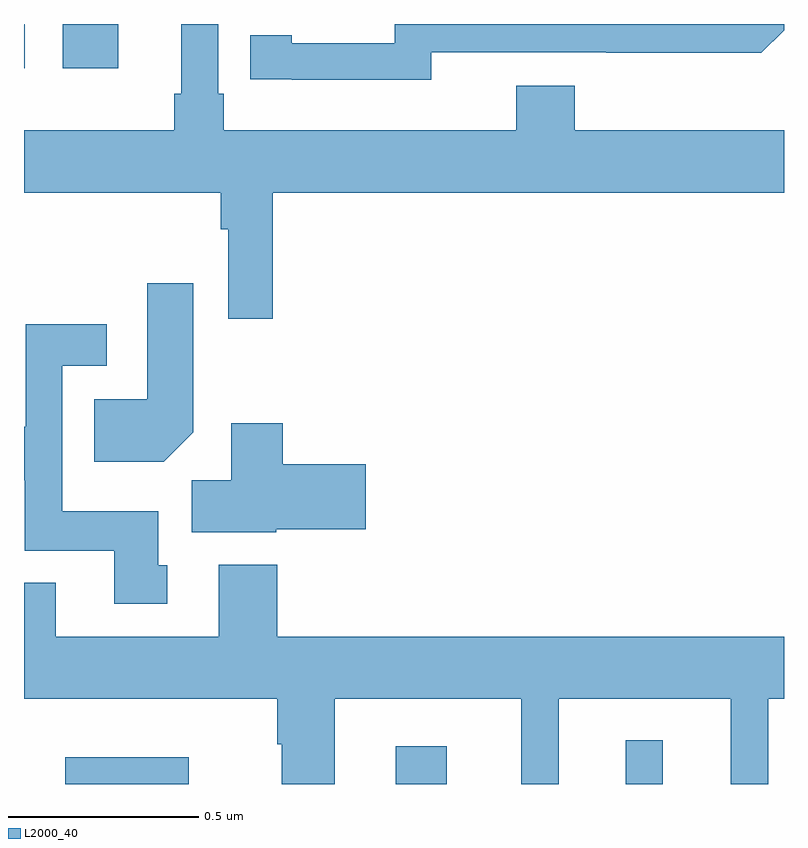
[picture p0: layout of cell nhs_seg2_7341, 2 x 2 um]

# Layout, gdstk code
import gdstk
lib = gdstk.Library(unit=1e-6, precision=1e-09)
def R(c, l, rs):  # rectangles x0, y0, x1, y1
    for r in rs: c.add(gdstk.rectangle(r[:2], r[2:], *l))
def P(c, l, *ps):  # polygons
    for p in ps: c.add(gdstk.Polygon(p, *l))
L2000_40 = (2000, 40)

nhs_seg2_7341 = lib.new_cell('nhs_seg2_7341')
R(nhs_seg2_7341, L2000_40, [(203.109,592.8,203.433,592.87), (203.978,592.8,204.112,592.9), (204.584,592.8,204.681,592.915), (203,594.684,203.002,594.8), (203.102,594.684,203.248,594.8)])
P(nhs_seg2_7341, L2000_40, [(203.654,594.356),(205,594.356),(205,594.52),(204.449,594.52),(204.449,594.637),(204.296,594.637),(204.296,594.52),(203.525,594.52),(203.525,594.616),(203.511,594.616),(203.511,594.8),(203.414,594.8),(203.414,594.616),(203.395,594.616),(203.395,594.52),(203,594.52),(203,594.356),(203.518,594.356),(203.518,594.26),(203.538,594.26),(203.538,594.024),(203.654,594.024)],
  [(204.072,594.726),(204.532,594.726),(204.532,594.725),(204.94,594.725),(205,594.784),(205,594.8),(203.976,594.8),(203.976,594.75),(203.704,594.75),(203.704,594.77),(203.596,594.77),(203.596,594.654),(203.704,594.654),(203.704,594.653),(204.072,594.653)],
  [(203.446,593.726),(203.446,594.118),(203.324,594.118),(203.324,593.812),(203.185,593.812),(203.185,593.648),(203.368,593.648)],
  [(203.377,593.376),(203.353,593.376),(203.353,593.518),(203.1,593.518),(203.1,593.901),(203.218,593.901),(203.218,594.01),(203.004,594.01),(203.004,593.74),(203,593.74),(203,593.6),(203.002,593.6),(203.002,593.414),(203.237,593.414),(203.237,593.274),(203.377,593.274)],
  [(203.664,593.471),(203.899,593.471),(203.899,593.642),(203.681,593.642),(203.681,593.749),(203.546,593.749),(203.546,593.6),(203.441,593.6),(203.441,593.462),(203.664,593.462)],
  [(203.818,593.024),(204.308,593.024),(204.308,592.8),(204.407,592.8),(204.407,593.024),(204.86,593.024),(204.86,592.8),(204.958,592.8),(204.958,593.024),(205,593.024),(205,593.188),(203.666,593.188),(203.666,593.377),(203.513,593.377),(203.513,593.188),(203.083,593.188),(203.083,593.329),(203,593.329),(203,593.024),(203.666,593.024),(203.666,592.904),(203.678,592.904),(203.678,592.8),(203.818,592.8)])

lib.write_gds('nhs_seg2_7341.gds')
